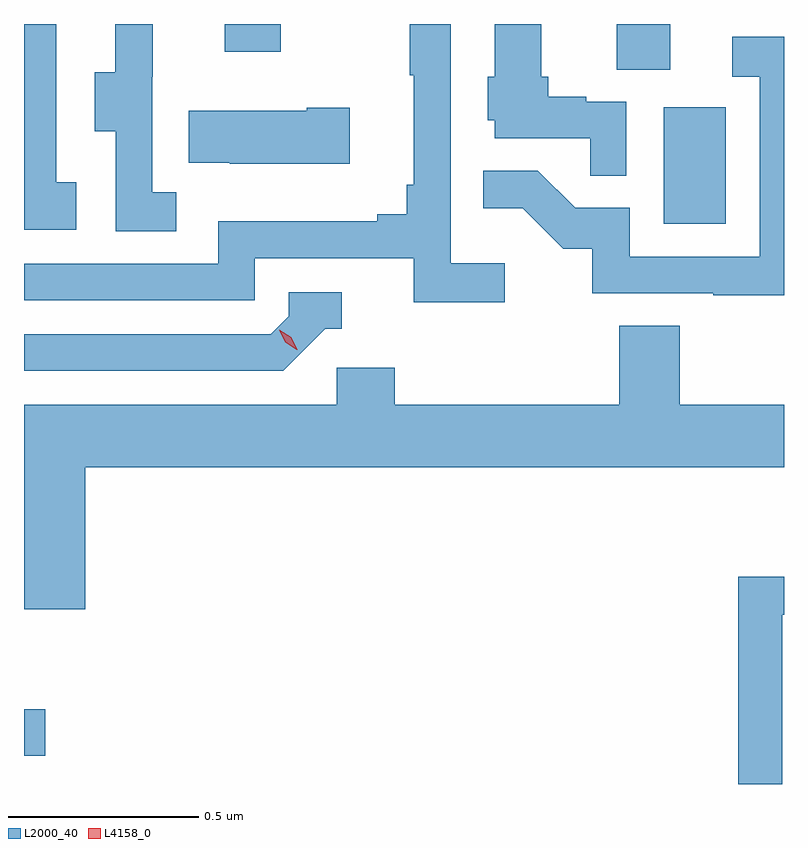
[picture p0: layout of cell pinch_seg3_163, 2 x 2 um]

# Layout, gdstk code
import gdstk
lib = gdstk.Library(unit=1e-6, precision=1e-09)
def R(c, l, rs):  # rectangles x0, y0, x1, y1
    for r in rs: c.add(gdstk.rectangle(r[:2], r[2:], *l))
def P(c, l, *ps):  # polygons
    for p in ps: c.add(gdstk.Polygon(p, *l))
L2000_40 = (2000, 40)
L4158_0 = (4158, 0)

pinch_seg3_163 = lib.new_cell('pinch_seg3_163')
R(pinch_seg3_163, L2000_40, [(1088.087,708.149,1088.143,708.271), (1089.77,709.548,1089.934,709.855), (1089.647,709.954,1089.787,710.074), (1088.615,710.001,1088.763,710.074)])
P(pinch_seg3_163, L2000_40, [(1088.224,709.658),(1088.172,709.658),(1088.172,710.074),(1088.087,710.074),(1088.087,709.533),(1088.224,709.533)],
  [(1088.488,709.631),(1088.424,709.631),(1088.424,709.935),(1088.426,709.935),(1088.426,710.074),(1088.327,710.074),(1088.327,709.947),(1088.273,709.947),(1088.273,709.792),(1088.328,709.792),(1088.328,709.528),(1088.488,709.528)],
  [(1089.352,709.444),(1089.21,709.444),(1089.21,710.074),(1089.102,710.074),(1089.102,709.939),(1089.113,709.939),(1089.113,709.651),(1089.094,709.651),(1089.094,709.574),(1089.017,709.574),(1089.017,709.555),(1088.598,709.555),(1088.598,709.443),(1088.087,709.443),(1088.087,709.347),(1088.694,709.347),(1088.694,709.458),(1089.113,709.458),(1089.113,709.342),(1089.352,709.342)],
  [(1089.672,709.869),(1089.566,709.869),(1089.566,709.882),(1089.466,709.882),(1089.466,709.935),(1089.448,709.935),(1089.448,710.074),(1089.326,710.074),(1089.326,709.935),(1089.308,709.935),(1089.308,709.821),(1089.326,709.821),(1089.326,709.773),(1089.577,709.773),(1089.577,709.675),(1089.672,709.675)],
  [(1090.087,710.041),(1089.951,710.041),(1089.951,709.935),(1090.023,709.935),(1090.023,709.461),(1089.681,709.461),(1089.681,709.59),(1089.537,709.59),(1089.439,709.688),(1089.295,709.688),(1089.295,709.589),(1089.399,709.589),(1089.506,709.482),(1089.583,709.482),(1089.583,709.365),(1089.901,709.365),(1089.901,709.36),(1090.087,709.36)],
  [(1088.944,709.854),(1088.831,709.854),(1088.831,709.846),(1088.521,709.846),(1088.521,709.709),(1088.629,709.709),(1088.629,709.706),(1088.944,709.706)],
  [(1088.88,709.272),(1088.923,709.272),(1088.923,709.368),(1088.784,709.368),(1088.784,709.305),(1088.736,709.257),(1088.087,709.257),(1088.087,709.161),(1088.769,709.161)],
  [(1088.248,708.908),(1090.087,708.908),(1090.087,709.072),(1089.813,709.072),(1089.813,709.28),(1089.653,709.28),(1089.653,709.072),(1089.062,709.072),(1089.062,709.17),(1088.91,709.17),(1088.91,709.072),(1088.087,709.072),(1088.087,708.534),(1088.248,708.534)],
  [(1090.083,708.519),(1090.087,708.519),(1090.087,708.62),(1089.967,708.62),(1089.967,708.074),(1090.083,708.074)])
P(pinch_seg3_163, L4158_0, [(1088.805,709.217),(1088.775,709.237),(1088.759,709.27),(1088.759,709.27),(1088.759,709.27),(1088.79,709.25),(1088.806,709.217),(1088.806,709.217)])

lib.write_gds('pinch_seg3_163.gds')
